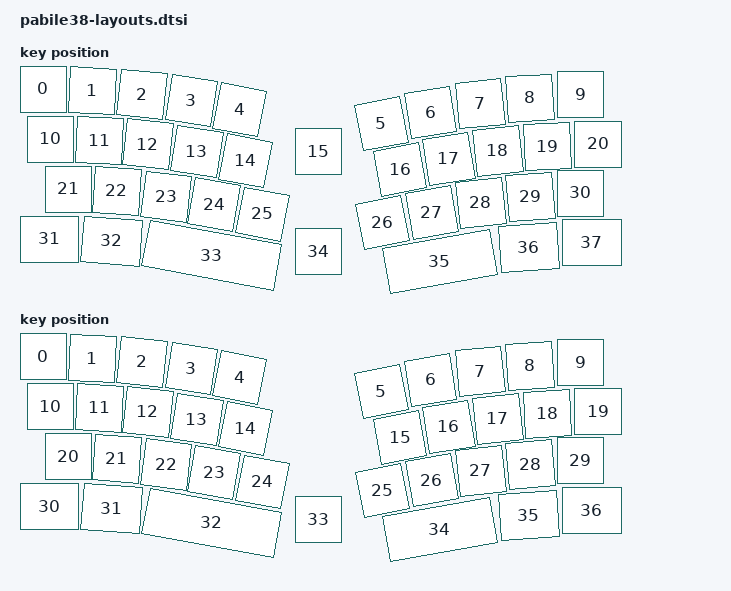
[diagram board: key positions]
#include <physical_layouts.dtsi>

/ {
    default_layout: default_layout {
        compatible = "zmk,physical-layout";
        display-name = "Default";

        kscan = <&kscan0>;
        transform = <&matrix_transform0>;

        keys  //                     w   h    x    y     rot    rx    ry
            = <&key_physical_attrs 100 100    0   25       0     0     0>
            , <&key_physical_attrs 100 100   81   37     300   300   425>
            , <&key_physical_attrs 100 100  163   43     600   300   425>
            , <&key_physical_attrs 100 100  245   45     900   300   425>
            , <&key_physical_attrs 100 100  332   45    1100   300   425>
            , <&key_physical_attrs 100 100  740    0 (-1100)  1250   425>
            , <&key_physical_attrs 100 100  828    9  (-900)  1250   425>
            , <&key_physical_attrs 100 100  910   22  (-600)  1250   425>
            , <&key_physical_attrs 100 100  992   32  (-300)  1250   425>
            , <&key_physical_attrs 100 100 1075   36       0     0     0>
            , <&key_physical_attrs 100 100   15  125       0     0     0>
            , <&key_physical_attrs 100 100  100  135     300   300   425>
            , <&key_physical_attrs 100 100  185  141     600   300   425>
            , <&key_physical_attrs 100 100  272  144     900   300   425>
            , <&key_physical_attrs 100 100  363  143    1100   300   425>
            , <&key_physical_attrs 100 100  550  150       0     0     0>
            , <&key_physical_attrs 100 100  759   97 (-1100)  1250   425>
            , <&key_physical_attrs 100 100  849  107  (-900)  1250   425>
            , <&key_physical_attrs 100 100  935  120  (-600)  1250   425>
            , <&key_physical_attrs 100 100 1022  130  (-300)  1250   425>
            , <&key_physical_attrs 100 100 1110  135       0     0     0>
            , <&key_physical_attrs 100 100   50  225       0     0     0>
            , <&key_physical_attrs 100 100  138  236     400   300   425>
            , <&key_physical_attrs 100 100  230  242     700   300   425>
            , <&key_physical_attrs 100 100  320  242    1000   300   425>
            , <&key_physical_attrs 100 100  417  241    1100   300   425>
            , <&key_physical_attrs 100 100  705  194 (-1100)  1250   425>
            , <&key_physical_attrs 100 100  802  200 (-1000)  1250   425>
            , <&key_physical_attrs 100 100  890  220  (-600)  1250   425>
            , <&key_physical_attrs 100 100  985  225  (-400)  1250   425>
            , <&key_physical_attrs 100 100 1075  233       0     0     0>
            , <&key_physical_attrs 125 100    0  325       0     0     0>
            , <&key_physical_attrs 125 100  122  337     400   300   425>
            , <&key_physical_attrs 275 100  245  342    1050   300   425>
            , <&key_physical_attrs 100 100  550  350       0     0     0>
            , <&key_physical_attrs 225 100  738  300 (-1000)  1250   425>
            , <&key_physical_attrs 125 100  962  326  (-400)  1250   425>
            , <&key_physical_attrs 125 100 1085  332       0     0     0>
            ;
    };
};

/ {
    alt_layout: alt_layout {
        compatible = "zmk,physical-layout";
        display-name = "Alternate";

        kscan = <&kscan0>;
        transform = <&matrix_transform0>;

        keys  //                     w   h    x    y     rot    rx    ry
            = <&key_physical_attrs 100 100    0   25       0     0     0>
            , <&key_physical_attrs 100 100   81   37     300   300   425>
            , <&key_physical_attrs 100 100  163   43     600   300   425>
            , <&key_physical_attrs 100 100  245   45     900   300   425>
            , <&key_physical_attrs 100 100  332   45    1100   300   425>
            , <&key_physical_attrs 100 100  740    0 (-1100)  1250   425>
            , <&key_physical_attrs 100 100  828    9  (-900)  1250   425>
            , <&key_physical_attrs 100 100  910   22  (-600)  1250   425>
            , <&key_physical_attrs 100 100  992   32  (-300)  1250   425>
            , <&key_physical_attrs 100 100 1075   36       0     0     0>
            , <&key_physical_attrs 100 100   15  125       0     0     0>
            , <&key_physical_attrs 100 100  100  135     300   300   425>
            , <&key_physical_attrs 100 100  185  141     600   300   425>
            , <&key_physical_attrs 100 100  272  144     900   300   425>
            , <&key_physical_attrs 100 100  363  143    1100   300   425>
            , <&key_physical_attrs 100 100  759   97 (-1100)  1250   425>
            , <&key_physical_attrs 100 100  849  107  (-900)  1250   425>
            , <&key_physical_attrs 100 100  935  120  (-600)  1250   425>
            , <&key_physical_attrs 100 100 1022  130  (-300)  1250   425>
            , <&key_physical_attrs 100 100 1110  135       0     0     0>
            , <&key_physical_attrs 100 100   50  225       0     0     0>
            , <&key_physical_attrs 100 100  138  236     400   300   425>
            , <&key_physical_attrs 100 100  230  242     700   300   425>
            , <&key_physical_attrs 100 100  320  242    1000   300   425>
            , <&key_physical_attrs 100 100  417  241    1100   300   425>
            , <&key_physical_attrs 100 100  705  194 (-1100)  1250   425>
            , <&key_physical_attrs 100 100  802  200 (-1000)  1250   425>
            , <&key_physical_attrs 100 100  890  220  (-600)  1250   425>
            , <&key_physical_attrs 100 100  985  225  (-400)  1250   425>
            , <&key_physical_attrs 100 100 1075  233       0     0     0>
            , <&key_physical_attrs 125 100    0  325       0     0     0>
            , <&key_physical_attrs 125 100  122  337     400   300   425>
            , <&key_physical_attrs 275 100  245  342    1050   300   425>
            , <&key_physical_attrs 100 100  550  350       0     0     0>
            , <&key_physical_attrs 225 100  738  300 (-1000)  1250   425>
            , <&key_physical_attrs 125 100  962  326  (-400)  1250   425>
            , <&key_physical_attrs 125 100 1085  332       0     0     0>
            ;
    };
};
/ {
    pabile38_position_map {
        compatible = "zmk,physical-layout-position-map";
        complete;
        default_map: defaultmap {
            physical-layout = <&default_layout>;
            positions
                = < 0  1  2  3  4 42 5  6  7  8  9>
                , <10 11 12 13 14 15 16 17 18 19 20>
                , <21 22 23 24 25 43 26 27 28 29 30>
                , <40 41 31 32 33 34 35 36 37 38 39>;
        };

        alt_map: altmap {
            physical-layout = <&alt_layout>;
            positions
                = < 0  1  2  3  4 41 5  6  7  8  9>
                , <10 11 12 13 14 42 15 16 17 18 19>
                , <20 21 22 23 24 43 25 26 27 28 29>
                , <38 39 40 30 31 32 33 34 35 36 37>;
        };
    };
};
